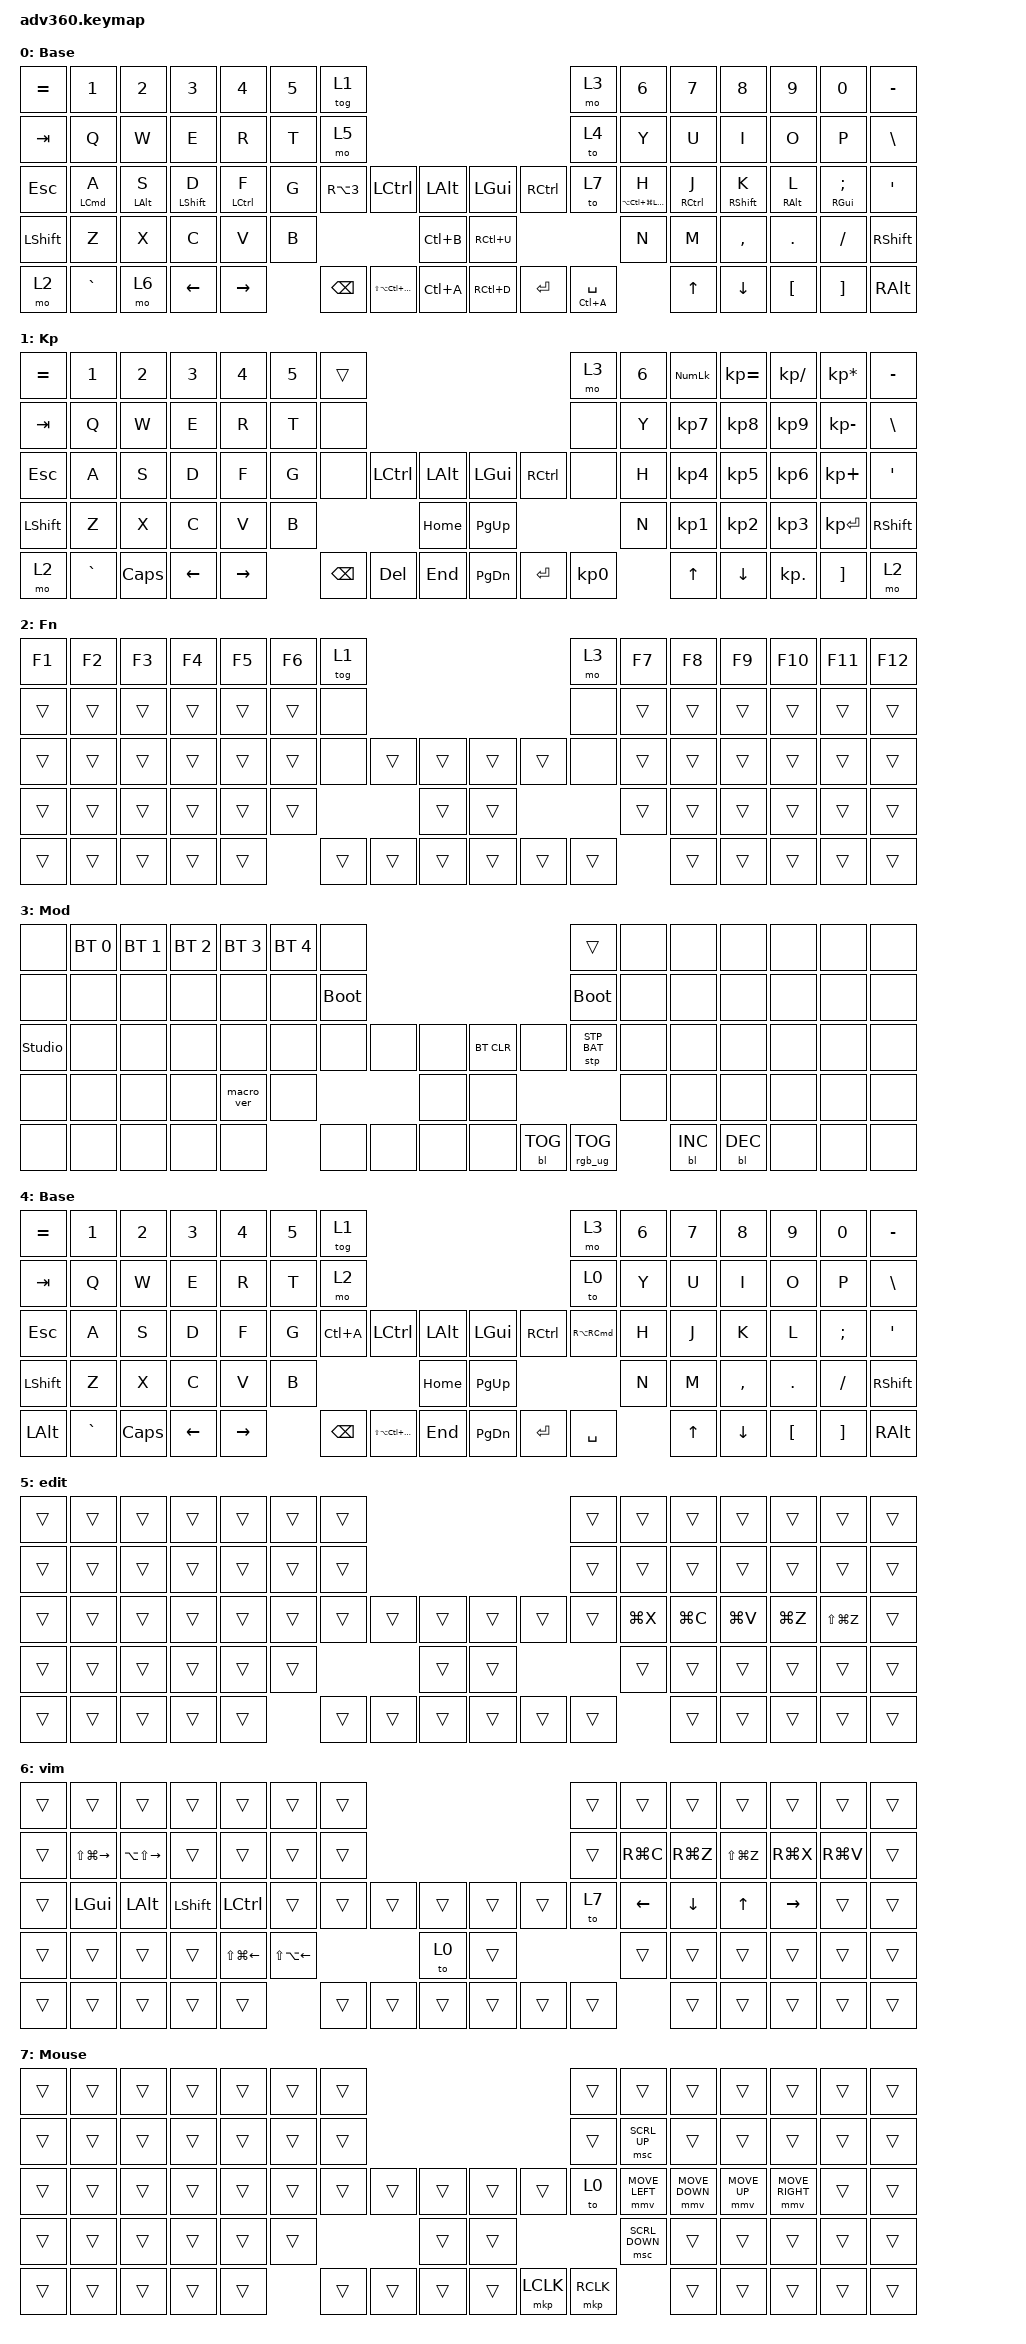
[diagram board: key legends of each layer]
#include <dt-bindings/zmk/stp.h>
#include <behaviors.dtsi>
#include <dt-bindings/zmk/backlight.h>
#include <dt-bindings/zmk/bt.h>
#include <dt-bindings/zmk/keys.h>
#include <dt-bindings/zmk/pointing.h>
#include <dt-bindings/zmk/rgb.h>

/ {
    behaviors {
        #include "macros.dtsi"
      #include "version.dtsi"

        hm: homerow_mods {
            compatible = "zmk,behavior-hold-tap";
            label = "HOMEROW_MODS";
            #binding-cells = <2>;
            tapping-term-ms = <200>;
            quick_tap_ms = <175>;
            flavor = "tap-preferred";
            bindings = <&kp>, <&kp>;

            quick-tap-ms = <150>;
            require-prior-idle-ms = <150>;
        };

        hmr: hmr {
            compatible = "zmk,behavior-hold-tap";
            label = "HMR";
            #binding-cells = <2>;
            tapping-term-ms = <200>;
            flavor = "tap-preferred";
            bindings = <&kp>, <&kp>;

            quick-tap-ms = <150>;
            hold-trigger-key-positions = <0 1 2 3 14 15 16 17 0 1 2 3 4 5 6 14 15 16 17 18 19 20 28 29 30 31 32 33 34 46 47 48 49 50 51 60 61 62 63 64>;
            require-prior-idle-ms = <200>;
            hold-trigger-on-release;
        };

        hml: hml {
            compatible = "zmk,behavior-hold-tap";
            label = "HML";
            #binding-cells = <2>;
            tapping-term-ms = <200>;
            flavor = "tap-preferred";
            bindings = <&kp>, <&kp>;

            quick-tap-ms = <150>;
            hold-trigger-key-positions = <7 8 9 10 11 12 13 21 22 23 24 25 26 27 39 40 41 42 43 44 45 54 55 56 57 58 59 71 72 73 74 75>;
            require-prior-idle-ms = <200>;
            hold-trigger-on-release;
        };
    };

    macros {
        macro_arrow: macro_arrow {
            compatible = "zmk,behavior-macro";
            #binding-cells = <0>;
            bindings = <&none &kp EQUAL &kp GT>, <&macro_press>;

            label = "MACRO_ARROW";
        };
    };

    keymap {
        compatible = "zmk,keymap";

        default_layer {
            display-name = "Base";
            bindings = <
&kp EQUAL  &kp N1               &kp N2           &kp N3             &kp N4        &kp N5  &tog 1                                                                               &mo 3             &kp N6                         &kp N7                &kp N8              &kp N9            &kp N0               &kp MINUS
&kp TAB    &kp Q                &kp W            &kp E              &kp R         &kp T   &mo 5                                                                                &to 4             &kp Y                          &kp U                 &kp I               &kp O             &kp P                &kp BSLH
&kp ESC    &hml LEFT_COMMAND A  &hml LEFT_ALT S  &hml LEFT_SHIFT D  &hml LCTRL F  &kp G   &kp RA(NUMBER_3)  &kp LCTRL                     &kp LALT       &kp LGUI   &kp RCTRL  &to 7             &hmr LA(LC(LG(LEFT_SHIFT))) H  &hmr RIGHT_CONTROL J  &hmr RIGHT_SHIFT K  &hmr RIGHT_ALT L  &hmr RIGHT_GUI SEMI  &kp SQT
&kp LSHFT  &kp Z                &kp X            &kp C              &kp V         &kp B                                                   &kp LC(B)      &kp RC(U)                               &kp N                          &kp M                 &kp COMMA           &kp DOT           &kp FSLH             &kp RSHFT
&mo 2      &kp GRAVE            &mo 6            &kp LEFT           &kp RIGHT             &kp BSPC          &kp LS(LA(LC(LG(LEFT_GUI))))  &kp LC(A)      &kp RC(D)  &kp ENTER  &hmr LC(A) SPACE                                 &kp UP                &kp DOWN            &kp LBKT          &kp RBKT             &kp RIGHT_ALT
            >;
        };

        keypad {
            display-name = "Kp";
            bindings = <
&kp EQUAL  &kp N1     &kp N2    &kp N3    &kp N4     &kp N5  &trans                                                   &mo 3      &kp N6  &kp KP_NUM  &kp KP_EQUAL  &kp KP_DIVIDE  &kp KP_MULTIPLY  &kp MINUS
&kp TAB    &kp Q      &kp W     &kp E     &kp R      &kp T   &none                                                    &none      &kp Y   &kp KP_N7   &kp KP_N8     &kp KP_N9      &kp KP_MINUS     &kp BSLH
&kp ESC    &kp A      &kp S     &kp D     &kp F      &kp G   &none     &kp LCTRL  &kp LALT      &kp LGUI   &kp RCTRL  &none      &kp H   &kp KP_N4   &kp KP_N5     &kp KP_N6      &kp KP_PLUS      &kp SQT
&kp LSHFT  &kp Z      &kp X     &kp C     &kp V      &kp B                        &kp HOME      &kp PG_UP                        &kp N   &kp KP_N1   &kp KP_N2     &kp KP_N3      &kp KP_ENTER     &kp RSHFT
&mo 2      &kp GRAVE  &kp CAPS  &kp LEFT  &kp RIGHT          &kp BSPC  &kp DEL    &kp END       &kp PG_DN  &kp ENTER  &kp KP_N0          &kp UP      &kp DOWN      &kp KP_DOT     &kp RBKT         &mo 2
            >;
        };

        fn {
            display-name = "Fn";
            bindings = <
&kp F1  &kp F2  &kp F3  &kp F4  &kp F5  &kp F6  &tog 1                                      &mo 3   &kp F7  &kp F8  &kp F9  &kp F10  &kp F11  &kp F12
&trans  &trans  &trans  &trans  &trans  &trans  &none                                       &none   &trans  &trans  &trans  &trans   &trans   &trans
&trans  &trans  &trans  &trans  &trans  &trans  &none   &trans  &trans      &trans  &trans  &none   &trans  &trans  &trans  &trans   &trans   &trans
&trans  &trans  &trans  &trans  &trans  &trans                  &trans      &trans                  &trans  &trans  &trans  &trans   &trans   &trans
&trans  &trans  &trans  &trans  &trans          &trans  &trans  &trans      &trans  &trans  &trans          &trans  &trans  &trans   &trans   &trans
            >;
        };

        mod {
            display-name = "Mod";
            bindings = <
&none           &bt BT_SEL 0  &bt BT_SEL 1  &bt BT_SEL 2  &bt BT_SEL 3  &bt BT_SEL 4  &none                                                  &trans           &none  &none       &none       &none  &none  &none
&none           &none         &none         &none         &none         &none         &bootloader                                            &bootloader      &none  &none       &none       &none  &none  &none
&studio_unlock  &none         &none         &none         &none         &none         &none        &none  &none      &bt BT_CLR  &none       &stp STP_BAT     &none  &none       &none       &none  &none  &none
&none           &none         &none         &none         &macro_ver    &none                             &none      &none                                    &none  &none       &none       &none  &none  &none
&none           &none         &none         &none         &none                       &none        &none  &none      &none       &bl BL_TOG  &rgb_ug RGB_TOG         &bl BL_INC  &bl BL_DEC  &none  &none  &none
            >;
        };

        layer_4 {
            display-name = "Base";
            bindings = <
&kp EQUAL     &kp N1     &kp N2    &kp N3    &kp N4     &kp N5  &tog 1                                                                       &mo 3                  &kp N6  &kp N7  &kp N8     &kp N9    &kp N0    &kp MINUS
&kp TAB       &kp Q      &kp W     &kp E     &kp R      &kp T   &mo 2                                                                        &to 0                  &kp Y   &kp U   &kp I      &kp O     &kp P     &kp BSLH
&kp ESC       &kp A      &kp S     &kp D     &kp F      &kp G   &kp LC(A)  &kp LCTRL                     &kp LALT      &kp LGUI   &kp RCTRL  &kp RA(RIGHT_COMMAND)  &kp H   &kp J   &kp K      &kp L     &kp SEMI  &kp SQT
&kp LSHFT     &kp Z      &kp X     &kp C     &kp V      &kp B                                            &kp HOME      &kp PG_UP                                    &kp N   &kp M   &kp COMMA  &kp DOT   &kp FSLH  &kp RSHFT
&kp LEFT_ALT  &kp GRAVE  &kp CLCK  &kp LEFT  &kp RIGHT          &kp BSPC   &kp LS(LA(LC(LG(LEFT_GUI))))  &kp END       &kp PG_DN  &kp ENTER  &kp SPACE                      &kp UP  &kp DOWN   &kp LBKT  &kp RBKT  &kp RIGHT_ALT
            >;
        };

        edit {
            bindings = <
&trans  &trans  &trans  &trans  &trans  &trans  &trans                                      &trans  &trans     &trans     &trans     &trans     &trans         &trans
&trans  &trans  &trans  &trans  &trans  &trans  &trans                                      &trans  &trans     &trans     &trans     &trans     &trans         &trans
&trans  &trans  &trans  &trans  &trans  &trans  &trans  &trans  &trans      &trans  &trans  &trans  &kp LG(X)  &kp LG(C)  &kp LG(V)  &kp LG(Z)  &kp LS(LG(Z))  &trans
&trans  &trans  &trans  &trans  &trans  &trans                  &trans      &trans                  &trans     &trans     &trans     &trans     &trans         &trans
&trans  &trans  &trans  &trans  &trans          &trans  &trans  &trans      &trans  &trans  &trans             &trans     &trans     &trans     &trans         &trans
            >;
        };

        vim {
            bindings = <
&trans  &trans                   &trans             &trans          &trans                  &trans                  &trans                                      &trans  &trans          &trans     &trans         &trans           &trans     &trans
&trans  &kp LS(LG(RIGHT_ARROW))  &kp LA(LS(RIGHT))  &trans          &trans                  &trans                  &trans                                      &trans  &kp RG(C)       &kp RG(Z)  &kp LS(LG(Z))  &kp RG(X)        &kp RG(V)  &trans
&trans  &kp LEFT_GUI             &kp LEFT_ALT       &kp LEFT_SHIFT  &kp LEFT_CONTROL        &trans                  &trans  &trans  &trans      &trans  &trans  &to 7   &kp LEFT_ARROW  &kp DOWN   &kp UP_ARROW   &kp RIGHT_ARROW  &trans     &trans
&trans  &trans                   &trans             &trans          &kp LS(LG(LEFT_ARROW))  &kp LS(LA(LEFT_ARROW))                  &to 0       &trans                  &trans          &trans     &trans         &trans           &trans     &trans
&trans  &trans                   &trans             &trans          &trans                                          &trans  &trans  &trans      &trans  &trans  &trans                  &trans     &trans         &trans           &trans     &trans
            >;
        };

        mouse {
            display-name = "Mouse";
            bindings = <
&trans  &trans  &trans  &trans  &trans  &trans  &trans                                         &trans     &trans          &trans          &trans        &trans           &trans  &trans
&trans  &trans  &trans  &trans  &trans  &trans  &trans                                         &trans     &msc SCRL_UP    &trans          &trans        &trans           &trans  &trans
&trans  &trans  &trans  &trans  &trans  &trans  &trans  &trans  &trans      &trans  &trans     &to 0      &mmv MOVE_LEFT  &mmv MOVE_DOWN  &mmv MOVE_UP  &mmv MOVE_RIGHT  &trans  &trans
&trans  &trans  &trans  &trans  &trans  &trans                  &trans      &trans                        &msc SCRL_DOWN  &trans          &trans        &trans           &trans  &trans
&trans  &trans  &trans  &trans  &trans          &trans  &trans  &trans      &trans  &mkp LCLK  &mkp RCLK                  &trans          &trans        &trans           &trans  &trans
            >;
        };
    };
};
